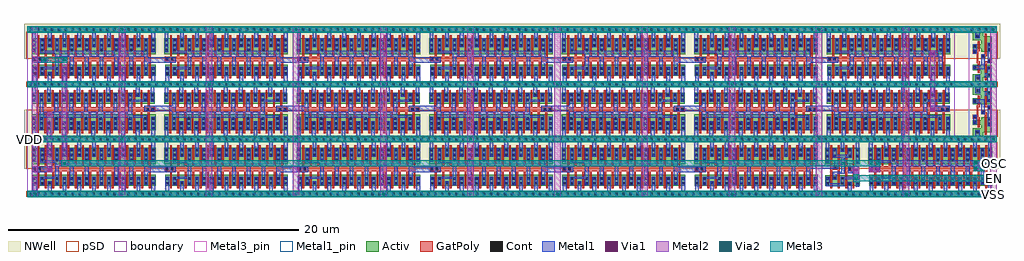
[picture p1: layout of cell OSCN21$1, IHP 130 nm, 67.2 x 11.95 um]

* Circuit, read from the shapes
.subckt OSCN21$1 EN OSC VDD VSS
XM1 sg13cmos5l_inv_16_4/A sg13cmos5l_inv_16_3/A VSS VSS sg13_lv_nmos w=0.74u l=0.13u m=16
XM2 sg13cmos5l_inv_16_5/A sg13cmos5l_inv_16_4/A VSS VSS sg13_lv_nmos w=0.74u l=0.13u m=16
XM3 sg13cmos5l_inv_16_18/A sg13cmos5l_inv_16_14/A VSS VSS sg13_lv_nmos w=0.74u l=0.13u m=16
XM4 sg13cmos5l_inv_16_3/A sg13cmos5l_inv_16_2/A VSS VSS sg13_lv_nmos w=0.74u l=0.13u m=16
XM5 sg13cmos5l_inv_16_7/A sg13cmos5l_inv_16_5/A VSS VSS sg13_lv_nmos w=0.74u l=0.13u m=16
XM6 sg13cmos5l_inv_16_19/A sg13cmos5l_inv_16_18/A VSS VSS sg13_lv_nmos w=0.74u l=0.13u m=16
XM7 sg13cmos5l_inv_16_2/A sg13cmos5l_inv_16_6/A VSS VSS sg13_lv_nmos w=0.74u l=0.13u m=16
XM8 sg13cmos5l_inv_16_9/A sg13cmos5l_inv_16_7/A VSS VSS sg13_lv_nmos w=0.74u l=0.13u m=16
XM9 sg13cmos5l_inv_16_20/A sg13cmos5l_inv_16_19/A VSS VSS sg13_lv_nmos w=0.74u l=0.13u m=16
XM10 sg13cmos5l_inv_16_6/A sg13cmos5l_inv_16_8/A VSS VSS sg13_lv_nmos w=0.74u l=0.13u m=16
XM11 sg13cmos5l_inv_16_11/A sg13cmos5l_inv_16_9/A VSS VSS sg13_lv_nmos w=0.74u l=0.13u m=16
XM12 sg13cmos5l_inv_16_21/A sg13cmos5l_inv_16_20/A VSS VSS sg13_lv_nmos w=0.74u l=0.13u m=16
XM13 sg13cmos5l_inv_16_8/A sg13cmos5l_inv_16_10/A VSS VSS sg13_lv_nmos w=0.74u l=0.13u m=16
XM14 sg13cmos5l_inv_16_13/A sg13cmos5l_inv_16_11/A VSS VSS sg13_lv_nmos w=0.74u l=0.13u m=16
XM15 sg13cmos5l_inv_16_22/A sg13cmos5l_inv_16_21/A VSS VSS sg13_lv_nmos w=0.74u l=0.13u m=16
XM16 sg13cmos5l_inv_16_10/A sg13cmos5l_inv_16_12/A VSS VSS sg13_lv_nmos w=0.74u l=0.13u m=16
XM17 sg13cmos5l_nand2_2_15/A sg13cmos5l_inv_16_13/A VSS VSS sg13_lv_nmos w=0.74u l=0.13u m=16
XM18 sg13cmos5l_inv_16_23/A sg13cmos5l_inv_16_22/A VSS VSS sg13_lv_nmos w=0.74u l=0.13u m=16
XM19 sg13cmos5l_inv_16_14/A sg13cmos5l_nand2_2_15/A n1 VSS sg13_lv_nmos w=0.72u l=0.13u m=2
XM20 sg13cmos5l_inv_16_12/A sg13cmos5l_inv_16_16/A VSS VSS sg13_lv_nmos w=0.74u l=0.13u m=16
XM21 sg13cmos5l_inv_16_16/A sg13cmos5l_inv_16_23/A VSS VSS sg13_lv_nmos w=0.74u l=0.13u m=16
XM22 VSS EN n1 VSS sg13_lv_nmos w=0.72u l=0.13u m=2
XM23 OSC sg13cmos5l_inv_16_14/A VSS VSS sg13_lv_nmos w=0.74u l=0.13u m=16
XM24 VSS n2 n3 VSS sg13_lv_nmos w=0.385u l=0.13u
XM25 VSS n4 n5 VSS sg13_lv_nmos w=0.385u l=0.13u
XM26 VSS n6 VSS VSS sg13_lv_nmos w=0.88u l=0.13u
XM27 VSS n7 VSS VSS sg13_lv_nmos w=0.88u l=0.13u
XM28 sg13cmos5l_inv_16_4/A sg13cmos5l_inv_16_3/A VDD VDD sg13_lv_pmos w=1.12u l=0.13u m=16
XM29 sg13cmos5l_inv_16_5/A sg13cmos5l_inv_16_4/A VDD VDD sg13_lv_pmos w=1.12u l=0.13u m=16
XM30 sg13cmos5l_inv_16_18/A sg13cmos5l_inv_16_14/A VDD VDD sg13_lv_pmos w=1.12u l=0.13u m=16
XM31 sg13cmos5l_inv_16_3/A sg13cmos5l_inv_16_2/A VDD VDD sg13_lv_pmos w=1.12u l=0.13u m=16
XM32 sg13cmos5l_inv_16_7/A sg13cmos5l_inv_16_5/A VDD VDD sg13_lv_pmos w=1.12u l=0.13u m=16
XM33 sg13cmos5l_inv_16_19/A sg13cmos5l_inv_16_18/A VDD VDD sg13_lv_pmos w=1.12u l=0.13u m=16
XM34 sg13cmos5l_inv_16_2/A sg13cmos5l_inv_16_6/A VDD VDD sg13_lv_pmos w=1.12u l=0.13u m=16
XM35 sg13cmos5l_inv_16_9/A sg13cmos5l_inv_16_7/A VDD VDD sg13_lv_pmos w=1.12u l=0.13u m=16
XM36 sg13cmos5l_inv_16_20/A sg13cmos5l_inv_16_19/A VDD VDD sg13_lv_pmos w=1.12u l=0.13u m=16
XM37 sg13cmos5l_inv_16_6/A sg13cmos5l_inv_16_8/A VDD VDD sg13_lv_pmos w=1.12u l=0.13u m=16
XM38 sg13cmos5l_inv_16_11/A sg13cmos5l_inv_16_9/A VDD VDD sg13_lv_pmos w=1.12u l=0.13u m=16
XM39 sg13cmos5l_inv_16_21/A sg13cmos5l_inv_16_20/A VDD VDD sg13_lv_pmos w=1.12u l=0.13u m=16
XM40 sg13cmos5l_inv_16_8/A sg13cmos5l_inv_16_10/A VDD VDD sg13_lv_pmos w=1.12u l=0.13u m=16
XM41 sg13cmos5l_inv_16_13/A sg13cmos5l_inv_16_11/A VDD VDD sg13_lv_pmos w=1.12u l=0.13u m=16
XM42 sg13cmos5l_inv_16_22/A sg13cmos5l_inv_16_21/A VDD VDD sg13_lv_pmos w=1.12u l=0.13u m=16
XM43 sg13cmos5l_inv_16_10/A sg13cmos5l_inv_16_12/A VDD VDD sg13_lv_pmos w=1.12u l=0.13u m=16
XM44 sg13cmos5l_nand2_2_15/A sg13cmos5l_inv_16_13/A VDD VDD sg13_lv_pmos w=1.12u l=0.13u m=16
XM45 sg13cmos5l_inv_16_23/A sg13cmos5l_inv_16_22/A VDD VDD sg13_lv_pmos w=1.12u l=0.13u m=16
XM46 sg13cmos5l_inv_16_14/A sg13cmos5l_nand2_2_15/A VDD VDD sg13_lv_pmos w=1.12u l=0.13u m=2
XM47 sg13cmos5l_inv_16_12/A sg13cmos5l_inv_16_16/A VDD VDD sg13_lv_pmos w=1.12u l=0.13u m=16
XM48 sg13cmos5l_inv_16_16/A sg13cmos5l_inv_16_23/A VDD VDD sg13_lv_pmos w=1.12u l=0.13u m=16
XM49 sg13cmos5l_inv_16_14/A EN VDD VDD sg13_lv_pmos w=1.12u l=0.13u m=2
XM50 OSC sg13cmos5l_inv_16_14/A VDD VDD sg13_lv_pmos w=1.12u l=0.13u m=16
XM51 VDD n2 n2 VDD sg13_lv_pmos w=0.3u l=0.13u
XM52 VDD n4 n4 VDD sg13_lv_pmos w=0.3u l=0.13u
XM53 n6 n3 VDD VDD sg13_lv_pmos w=1.045u l=0.13u
XM54 n7 n5 VDD VDD sg13_lv_pmos w=1.045u l=0.13u
.ends

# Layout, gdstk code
from math import pi, radians
import gdstk
lib = gdstk.Library(unit=1e-6, precision=1e-09)
def R(c, l, rs):  # rectangles x0, y0, x1, y1
    for r in rs: c.add(gdstk.rectangle(r[:2], r[2:], *l))
def A(c, l, x, y, w, h, nx, ny, dx, dy):  # array of equal rectangles
    R(c, l, [(x+i*dx, y+j*dy, x+i*dx+w, y+j*dy+h) for i in range(nx) for j in range(ny)])
def P(c, l, *ps):  # polygons
    for p in ps: c.add(gdstk.Polygon(p, *l))
Activ = (1, 0)
GatPoly = (5, 0)
Cont = (6, 0)
Metal1 = (8, 0)
Metal1_pin = (8, 2)
Metal2 = (10, 0)
pSD = (14, 0)
Via1 = (19, 0)
Via2 = (29, 0)
Metal3 = (30, 0)
Metal3_pin = (30, 2)
NWell = (31, 0)
boundary = (189, 4)

sg13cmos5l_tielo_2 = lib.new_cell('sg13cmos5l_tielo$2')
P(sg13cmos5l_tielo_2, Activ, [(0,-0.15),(0,0.15),(0.295,0.15),(0.295,0.705),(0.835,0.705),(0.835,0.975),(0.295,0.975),(0.295,1.36),(1.585,1.36),(1.585,0.48),(1.015,0.48),(1.015,0.15),(1.92,0.15),(1.92,-0.15)],
  [(0.885,2.255),(0.885,2.47),(0.295,2.47),(0.295,2.77),(0.855,2.77),(0.855,3.04),(0.295,3.04),(0.295,3.63),(0,3.63),(0,3.93),(1.92,3.93),(1.92,3.63),(1.015,3.63),(1.015,3.3),(1.585,3.3),(1.585,2.255)])
P(sg13cmos5l_tielo_2, GatPoly, [(0.635,0.785),(0.635,1.44),(0.545,1.44),(0.545,2.09),(0.295,2.09),(0.295,2.39),(0.635,2.39),(0.635,2.96),(0.765,2.96),(0.765,2.26),(0.675,2.26),(0.675,1.57),(0.765,1.57),(0.765,0.785)],
  [(0.855,1.78),(0.855,2.08),(1.115,2.08),(1.115,3.49),(1.245,3.49),(1.245,1.935),(1.155,1.935),(1.155,1.815),(1.15,1.815),(1.15,1.81),(1.145,1.81),(1.145,1.805),(1.14,1.805),(1.14,1.8),(1.135,1.8),(1.135,1.795),(1.13,1.795),(1.13,1.79),(1.125,1.79),(1.125,1.785),(1.12,1.785),(1.12,1.78)],
  [(1.115,0.29),(1.115,1.57),(1.3,1.57),(1.3,1.705),(1.305,1.705),(1.305,1.71),(1.31,1.71),(1.31,1.715),(1.315,1.715),(1.315,1.72),(1.32,1.72),(1.32,1.725),(1.325,1.725),(1.325,1.73),(1.33,1.73),(1.33,1.735),(1.335,1.735),(1.335,1.74),(1.6,1.74),(1.6,1.44),(1.245,1.44),(1.245,0.29)])
R(sg13cmos5l_tielo_2, Cont, [(0.16,-0.08,0.32,0.08), (0.16,-0.08,0.32,0.08), (0.64,-0.08,0.8,0.08), (0.64,-0.08,0.8,0.08), (1.12,-0.08,1.28,0.08), (1.12,-0.08,1.28,0.08), (1.6,-0.08,1.76,0.08), (1.6,-0.08,1.76,0.08), (0.57,0.355,0.73,0.515), (1.355,0.55,1.515,0.71), (1.355,1.03,1.515,1.19), (0.365,1.09,0.525,1.25), (1.37,1.51,1.53,1.67), (0.925,1.85,1.085,2.01), (0.365,2.16,0.525,2.32), (1.355,2.325,1.515,2.485), (0.365,2.54,0.525,2.7), (1.355,2.665,1.515,2.825), (0.54,3.22,0.7,3.38), (0.16,3.7,0.32,3.86), (0.16,3.7,0.32,3.86), (0.64,3.7,0.8,3.86), (0.64,3.7,0.8,3.86), (1.12,3.7,1.28,3.86), (1.12,3.7,1.28,3.86), (1.6,3.7,1.76,3.86), (1.6,3.7,1.76,3.86)])
R(sg13cmos5l_tielo_2, Metal1, [(1.305,1.46,1.58,2.875), (0.315,2.11,0.575,2.76)])
P(sg13cmos5l_tielo_2, Metal1, [(0.315,1.03),(0.315,1.29),(0.875,1.29),(0.875,2.06),(1.115,2.06),(1.115,1.03)],
  [(0,-0.22),(0,0.22),(0.465,0.22),(0.465,0.605),(0.815,0.605),(0.815,0.22),(1.92,0.22),(1.92,-0.22)],
  [(0.455,3.165),(0.455,3.56),(0,3.56),(0,4),(1.92,4),(1.92,3.56),(0.78,3.56),(0.78,3.165)],
  [(1.095,0.485),(1.095,0.775),(1.295,0.775),(1.295,1.23),(1.585,1.23),(1.585,0.485)])
R(sg13cmos5l_tielo_2, Metal1_pin, [(0,-0.22,1.92,0.22), (1.295,0.485,1.585,1.23), (0,3.56,1.92,4)])
R(sg13cmos5l_tielo_2, pSD, [(-0.07,-0.18,1.99,0.18), (-0.07,1.76,1.99,3.6)])
R(sg13cmos5l_tielo_2, NWell, [(-0.24,1.75,2.16,4.17)])
R(sg13cmos5l_tielo_2, boundary, [(0,0,1.92,3.78)])
sg13cmos5l_tielo_2.add(gdstk.Label('VSS', (0.94,0), layer=8, texttype=25))
sg13cmos5l_tielo_2.add(gdstk.Label('VDD', (0.985,3.785), layer=8, texttype=25))
sg13cmos5l_tielo_2.add(gdstk.Label('L_LO', (1.435,1.02), layer=8, texttype=25))

sg13cmos5l_inv_16 = lib.new_cell('sg13cmos5l_inv_16')
R(sg13cmos5l_inv_16, Activ, [(0,-0.15,9.12,0.15), (0.305,0.59,8.765,1.33), (0.305,2.06,8.815,3.18), (0,3.63,9.12,3.93)])
R(sg13cmos5l_inv_16, GatPoly, [(8.425,1.57,8.785,1.9)])
P(sg13cmos5l_inv_16, GatPoly, [(0.645,0.41),(0.645,3.36),(0.775,3.36),(0.775,1.9),(1.155,1.9),(1.155,3.36),(1.285,3.36),(1.285,1.9),(1.665,1.9),(1.665,3.36),(1.795,3.36),(1.795,1.9),(2.175,1.9),(2.175,3.36),(2.305,3.36),(2.305,1.9),(2.685,1.9),(2.685,3.36),(2.815,3.36),(2.815,1.9),(3.195,1.9),(3.195,3.36),(3.325,3.36),(3.325,1.9),(3.705,1.9),(3.705,3.36),(3.835,3.36),(3.835,1.9),(4.215,1.9),(4.215,3.36),(4.345,3.36),(4.345,1.9),(4.725,1.9),(4.725,3.36),(4.855,3.36),(4.855,1.9),(5.235,1.9),(5.235,3.36),(5.365,3.36),(5.365,1.9),(5.745,1.9),(5.745,3.36),(5.875,3.36),(5.875,1.9),(6.255,1.9),(6.255,3.36),(6.385,3.36),(6.385,1.9),(6.765,1.9),(6.765,3.36),(6.895,3.36),(6.895,1.9),(7.275,1.9),(7.275,3.36),(7.405,3.36),(7.405,1.9),(7.785,1.9),(7.785,3.36),(7.915,3.36),(7.915,1.9),(8.295,1.9),(8.295,3.36),(8.425,3.36),(8.425,0.41),(8.295,0.41),(8.295,1.57),(7.915,1.57),(7.915,0.41),(7.785,0.41),(7.785,1.57),(7.405,1.57),(7.405,0.41),(7.275,0.41),(7.275,1.57),(6.895,1.57),(6.895,0.41),(6.765,0.41),(6.765,1.57),(6.385,1.57),(6.385,0.41),(6.255,0.41),(6.255,1.57),(5.875,1.57),(5.875,0.41),(5.745,0.41),(5.745,1.57),(5.365,1.57),(5.365,0.41),(5.235,0.41),(5.235,1.57),(4.855,1.57),(4.855,0.41),(4.725,0.41),(4.725,1.57),(4.345,1.57),(4.345,0.41),(4.215,0.41),(4.215,1.57),(3.835,1.57),(3.835,0.41),(3.705,0.41),(3.705,1.57),(3.325,1.57),(3.325,0.41),(3.195,0.41),(3.195,1.57),(2.815,1.57),(2.815,0.41),(2.685,0.41),(2.685,1.57),(2.305,1.57),(2.305,0.41),(2.175,0.41),(2.175,1.57),(1.795,1.57),(1.795,0.41),(1.665,0.41),(1.665,1.57),(1.285,1.57),(1.285,0.41),(1.155,0.41),(1.155,1.57),(0.775,1.57),(0.775,0.41)])
A(sg13cmos5l_inv_16, Cont, 0.375, 0.66, 0.16, 0.16, 17, 1, 0.51, 0)
A(sg13cmos5l_inv_16, Cont, 0.375, 1, 0.16, 0.16, 14, 1, 0.51, 0)
A(sg13cmos5l_inv_16, Cont, 0.885, 2.27, 0.16, 0.16, 8, 1, 1.02, 0)
A(sg13cmos5l_inv_16, Cont, 8.585, 2.27, 0.16, 0.16, 1, 3, 0, 0.34)
A(sg13cmos5l_inv_16, Cont, 0.375, 2.61, 0.16, 0.16, 16, 2, 0.51, 0.34)
R(sg13cmos5l_inv_16, Cont, [(0.16,-0.08,0.32,0.08), (0.16,-0.08,0.32,0.08), (0.64,-0.08,0.8,0.08), (0.64,-0.08,0.8,0.08), (1.12,-0.08,1.28,0.08), (1.12,-0.08,1.28,0.08), (1.6,-0.08,1.76,0.08), (1.6,-0.08,1.76,0.08), (2.08,-0.08,2.24,0.08), (2.08,-0.08,2.24,0.08), (2.56,-0.08,2.72,0.08), (2.56,-0.08,2.72,0.08), (3.04,-0.08,3.2,0.08), (3.04,-0.08,3.2,0.08), (3.52,-0.08,3.68,0.08), (3.52,-0.08,3.68,0.08), (4,-0.08,4.16,0.08), (4,-0.08,4.16,0.08), (4.48,-0.08,4.64,0.08), (4.48,-0.08,4.64,0.08), (4.96,-0.08,5.12,0.08), (4.96,-0.08,5.12,0.08), (5.44,-0.08,5.6,0.08), (5.44,-0.08,5.6,0.08), (5.92,-0.08,6.08,0.08), (5.92,-0.08,6.08,0.08), (6.4,-0.08,6.56,0.08), (6.4,-0.08,6.56,0.08), (6.88,-0.08,7.04,0.08), (6.88,-0.08,7.04,0.08), (7.36,-0.08,7.52,0.08), (7.36,-0.08,7.52,0.08), (7.84,-0.08,8,0.08), (7.84,-0.08,8,0.08), (8.32,-0.08,8.48,0.08), (8.32,-0.08,8.48,0.08), (8.8,-0.08,8.96,0.08), (8.8,-0.08,8.96,0.08), (8.025,1,8.185,1.16), (8.535,1,8.695,1.16), (8.195,1.65,8.355,1.81), (8.535,1.65,8.695,1.81), (0.375,2.27,0.535,2.43), (0.16,3.7,0.32,3.86), (0.16,3.7,0.32,3.86), (0.64,3.7,0.8,3.86), (0.64,3.7,0.8,3.86), (1.12,3.7,1.28,3.86), (1.12,3.7,1.28,3.86), (1.6,3.7,1.76,3.86), (1.6,3.7,1.76,3.86), (2.08,3.7,2.24,3.86), (2.08,3.7,2.24,3.86), (2.56,3.7,2.72,3.86), (2.56,3.7,2.72,3.86), (3.04,3.7,3.2,3.86), (3.04,3.7,3.2,3.86), (3.52,3.7,3.68,3.86), (3.52,3.7,3.68,3.86), (4,3.7,4.16,3.86), (4,3.7,4.16,3.86), (4.48,3.7,4.64,3.86), (4.48,3.7,4.64,3.86), (4.96,3.7,5.12,3.86), (4.96,3.7,5.12,3.86), (5.44,3.7,5.6,3.86), (5.44,3.7,5.6,3.86), (5.92,3.7,6.08,3.86), (5.92,3.7,6.08,3.86), (6.4,3.7,6.56,3.86), (6.4,3.7,6.56,3.86), (6.88,3.7,7.04,3.86), (6.88,3.7,7.04,3.86), (7.36,3.7,7.52,3.86), (7.36,3.7,7.52,3.86), (7.84,3.7,8,3.86), (7.84,3.7,8,3.86), (8.32,3.7,8.48,3.86), (8.32,3.7,8.48,3.86), (8.8,3.7,8.96,3.86), (8.8,3.7,8.96,3.86)])
R(sg13cmos5l_inv_16, Metal1, [(8.025,1.49,8.785,1.87)])
P(sg13cmos5l_inv_16, Metal1, [(2.875,0.625),(2.875,1.9),(2.115,1.9),(2.115,0.63),(1.855,0.63),(1.855,1.9),(1.095,1.9),(1.095,0.63),(0.835,0.63),(0.835,3.16),(1.095,3.16),(1.095,2.32),(1.855,2.32),(1.855,3.16),(2.115,3.16),(2.115,2.32),(2.875,2.32),(2.875,3.16),(3.135,3.16),(3.135,2.32),(3.895,2.32),(3.895,3.16),(4.155,3.16),(4.155,2.32),(4.915,2.32),(4.915,3.16),(5.175,3.16),(5.175,2.32),(5.935,2.32),(5.935,3.16),(6.195,3.16),(6.195,2.32),(6.955,2.32),(6.955,3.16),(7.215,3.16),(7.215,2.32),(7.975,2.32),(7.975,3.16),(8.235,3.16),(8.235,2.145),(7.215,2.145),(7.215,1.21),(8.235,1.21),(8.235,0.625),(7.975,0.625),(7.975,1.05),(7.215,1.05),(7.215,0.625),(6.955,0.625),(6.955,1.9),(6.195,1.9),(6.195,0.625),(5.935,0.625),(5.935,1.9),(5.175,1.9),(5.175,0.625),(4.915,0.625),(4.915,1.9),(4.155,1.9),(4.155,0.625),(3.895,0.625),(3.895,1.9),(3.135,1.9),(3.135,0.625)],
  [(0.325,2.22),(0.325,3.56),(0,3.56),(0,4),(9.12,4),(9.12,3.56),(8.795,3.56),(8.795,2.22),(8.535,2.22),(8.535,3.555),(7.725,3.555),(7.725,2.56),(7.465,2.56),(7.465,3.56),(6.705,3.56),(6.705,2.56),(6.445,2.56),(6.445,3.56),(5.685,3.56),(5.685,2.56),(5.425,2.56),(5.425,3.56),(4.665,3.56),(4.665,2.56),(4.405,2.56),(4.405,3.56),(3.645,3.56),(3.645,2.56),(3.385,2.56),(3.385,3.56),(2.625,3.56),(2.625,2.56),(2.365,2.56),(2.365,3.56),(1.605,3.56),(1.605,2.56),(1.345,2.56),(1.345,3.56),(0.585,3.56),(0.585,2.22)],
  [(0,-0.22),(0,0.22),(0.325,0.22),(0.325,1.21),(0.585,1.21),(0.585,0.22),(1.345,0.22),(1.345,1.21),(1.605,1.21),(1.605,0.22),(2.365,0.22),(2.365,1.21),(2.625,1.21),(2.625,0.22),(3.385,0.22),(3.385,1.21),(3.645,1.21),(3.645,0.22),(4.405,0.22),(4.405,1.21),(4.665,1.21),(4.665,0.22),(5.425,0.22),(5.425,1.21),(5.685,1.21),(5.685,0.22),(6.445,0.22),(6.445,1.21),(6.705,1.21),(6.705,0.22),(7.465,0.22),(7.465,0.87),(7.725,0.87),(7.725,0.22),(8.485,0.22),(8.485,1.21),(8.745,1.21),(8.745,0.22),(9.12,0.22),(9.12,-0.22)])
R(sg13cmos5l_inv_16, Metal1_pin, [(0,-0.22,9.12,0.22), (8.025,1.49,8.745,1.87), (1.095,1.9,3.135,2.32), (0,3.56,9.12,4)])
R(sg13cmos5l_inv_16, pSD, [(-0.065,-0.18,9.19,0.18), (-0.065,1.76,9.19,3.6)])
R(sg13cmos5l_inv_16, NWell, [(-0.24,1.75,9.36,4.17)])
R(sg13cmos5l_inv_16, boundary, [(0,0,9.12,3.78)])
sg13cmos5l_inv_16.add(gdstk.Label('Y', (2.16,2.06), layer=8, texttype=25))
sg13cmos5l_inv_16.add(gdstk.Label('A', (8.16,1.68), layer=8, texttype=25))
sg13cmos5l_inv_16.add(gdstk.Label('VDD', (4.28,3.795), layer=8, texttype=25))
sg13cmos5l_inv_16.add(gdstk.Label('VSS', (3.86,-0.025), layer=8, texttype=25))

sg13cmos5l_nand2_2 = lib.new_cell('sg13cmos5l_nand2_2')
R(sg13cmos5l_nand2_2, Activ, [(0,-0.15,2.88,0.15), (0.285,0.575,2.67,1.295), (0.3,2.06,2.68,3.18), (0,3.63,2.88,3.93)])
P(sg13cmos5l_nand2_2, GatPoly, [(1.69,0.395),(1.69,3.36),(1.82,3.36),(1.82,1.99),(2.2,1.99),(2.2,3.36),(2.33,3.36),(2.33,0.395),(2.2,0.395),(2.2,1.69),(1.82,1.69),(1.82,0.395)],
  [(0.66,0.395),(0.66,3.36),(0.79,3.36),(0.79,1.875),(1.17,1.875),(1.17,3.36),(1.3,3.36),(1.3,0.395),(1.17,0.395),(1.17,1.565),(0.79,1.565),(0.79,0.395)])
A(sg13cmos5l_nand2_2, Cont, 1.6, -0.08, 0.16, 0.16, 3, 2, 0.48, 3.78)
A(sg13cmos5l_nand2_2, Cont, 0.37, 2.13, 0.16, 0.16, 1, 3, 0, 0.41)
R(sg13cmos5l_nand2_2, Cont, [(0.16,-0.08,0.32,0.08), (0.16,-0.08,0.32,0.08), (0.64,-0.08,0.8,0.08), (0.64,-0.08,0.8,0.08), (1.12,-0.08,1.28,0.08), (1.12,-0.08,1.28,0.08), (1.6,-0.08,1.76,0.08), (0.9,0.645,1.06,0.805), (0.38,0.65,0.54,0.81), (2.44,0.65,2.6,0.81), (1.41,0.66,1.57,0.82), (0.375,0.99,0.535,1.15), (2.44,0.99,2.6,1.15), (1.41,1.005,1.57,1.165), (1.93,1.05,2.09,1.21), (0.9,1.64,1.06,1.8), (1.93,1.76,2.09,1.92), (2.44,2.21,2.6,2.37), (0.9,2.55,1.06,2.71), (1.93,2.55,2.09,2.71), (2.44,2.55,2.6,2.71), (0.9,2.95,1.06,3.11), (1.41,2.95,1.57,3.11), (1.93,2.95,2.09,3.11), (2.44,2.95,2.6,3.11), (0.16,3.7,0.32,3.86), (0.16,3.7,0.32,3.86), (0.64,3.7,0.8,3.86), (0.64,3.7,0.8,3.86), (1.12,3.7,1.28,3.86), (1.12,3.7,1.28,3.86), (1.6,3.7,1.76,3.86)])
R(sg13cmos5l_nand2_2, Metal1, [(0.82,1.435,1.1,1.9)])
P(sg13cmos5l_nand2_2, Metal1, [(0,-0.22),(0,0.22),(0.85,0.22),(0.85,0.855),(1.11,0.855),(1.11,0.22),(2.88,0.22),(2.88,-0.22)],
  [(0.325,0.5),(0.325,1.2),(1.62,1.2),(1.62,0.76),(2.37,0.76),(2.37,1.2),(2.65,1.2),(2.65,0.53),(1.35,0.53),(1.35,1.035),(0.585,1.035),(0.585,0.5)],
  [(1.88,1),(1.88,1.39),(1.32,1.39),(1.32,2.5),(0.85,2.5),(0.85,3.16),(1.11,3.16),(1.11,2.72),(1.88,2.72),(1.88,3.16),(2.14,3.16),(2.14,2.5),(1.56,2.5),(1.56,1.55),(2.14,1.55),(2.14,1)],
  [(1.79,1.73),(1.79,2.32),(2.05,2.32),(2.05,1.98),(2.17,1.98),(2.17,1.73)],
  [(0.32,2.08),(0.32,3.56),(0,3.56),(0,4),(2.88,4),(2.88,3.56),(2.65,3.56),(2.65,2.16),(2.39,2.16),(2.39,3.56),(1.62,3.56),(1.62,2.9),(1.36,2.9),(1.36,3.56),(0.58,3.56),(0.58,2.08)])
R(sg13cmos5l_nand2_2, Metal1_pin, [(0,-0.22,2.88,0.22), (1.32,1.39,1.56,2.36), (0.82,1.435,1.1,1.9), (1.79,1.73,2.05,2.32), (0,3.56,2.88,4)])
R(sg13cmos5l_nand2_2, pSD, [(-0.07,-0.18,2.95,0.18), (-0.07,1.76,2.95,3.6)])
R(sg13cmos5l_nand2_2, NWell, [(-0.24,1.75,3.12,4.17)])
R(sg13cmos5l_nand2_2, boundary, [(0,0,2.88,3.78)])
sg13cmos5l_nand2_2.add(gdstk.Label('B', (0.98,1.655), layer=8, texttype=25))
sg13cmos5l_nand2_2.add(gdstk.Label('VSS', (1.445,-0.02), layer=8, texttype=25))
sg13cmos5l_nand2_2.add(gdstk.Label('A', (1.92,2.1), layer=8, texttype=25))
sg13cmos5l_nand2_2.add(gdstk.Label('VDD', (1.37,3.78), layer=8, texttype=25))
sg13cmos5l_nand2_2.add(gdstk.Label('Y', (1.44,2.1), layer=8, texttype=25))

oscn21_1 = lib.new_cell('OSCN21$1')
A(oscn21_1, Activ, 12.56, 0.07, 0.32, 0.3, 5, 1, 12, 0)
R(oscn21_1, Activ, [(64.08,0.07,65.04,0.37), (64.08,3.85,65.04,4.15)])
A(oscn21_1, Metal1, 0.595, -7.49, 0.305, 0.29, 6, 1, 12, 0)
A(oscn21_1, Metal1, 8.265, -5.85, 2.19, 0.38, 3, 1, 9.12, 0)
A(oscn21_1, Metal1, 6.595, -3.7, 0.305, 0.3, 6, 1, 12, 0)
A(oscn21_1, Metal1, 8.265, -1.65, 2.19, 0.38, 6, 2, 9.12, 3.36)
A(oscn21_1, Metal1, 0.6, 0.1, 0.3, 0.27, 6, 1, 12, 0)
A(oscn21_1, Metal1, 6.545, 3.85, 0.36, 0.3, 5, 1, 12, 0)
R(oscn21_1, Metal1, [(56.74,-5.91,57.52,-5.44), (0.575,-5.85,1.95,-5.47), (35.63,-5.85,37.815,-5.47), (44.745,-5.85,46.935,-5.47), (58.24,-5.81,58.88,-5.5), (65.38,-5.77,66.13,-5.02), (53.865,-5.61,56.05,-5.36), (56.3,-5.42,56.5,-5.04), (1.625,-2.05,1.875,-1.75), (62.4,-1.65,63.75,-1.27), (66.335,-1.01,66.625,1.45), (64.08,0,65.04,0.44), (1.155,1.71,1.65,2.09), (62.45,2.15,62.7,2.5), (64.08,3.78,65.04,4.22)])
R(oscn21_1, Metal1_pin, [(64.08,0,65.04,0.44), (64.08,3.78,65.04,4.22)])
A(oscn21_1, Metal2, 6.52, -7.56, 0.44, 11.785, 11, 1, 6, 0)
R(oscn21_1, Metal2, [(0.52,-7.56,0.96,4.22), (57.1,-6.53,57.52,-5.44), (1.575,-5.85,1.95,-1.68), (58.18,-5.85,58.94,-5.02), (65.38,-5.77,66.13,-5.02), (56.25,-5.47,56.55,-4.98), (2.595,-5.44,2.98,-5.02), (2.605,-5.02,2.975,1.59), (62.4,-1.65,62.75,2.54), (2.605,1.59,2.97,2.095), (1.205,1.71,1.645,2.09)])
A(oscn21_1, pSD, 9.235, -5.46, 0.25, 1.48, 5, 1, 9.12, 0)
A(oscn21_1, pSD, 9.235, -3.14, 0.25, 1.48, 6, 2, 9.12, 5.24)
A(oscn21_1, pSD, 12.53, 0.04, 0.38, 0.36, 5, 1, 12, 0)
R(oscn21_1, pSD, [(54.835,-5.46,54.98,-3.98), (57.72,-5.46,57.965,-3.98), (64.15,-3.38,64.97,-1.54), (64.145,0.04,64.97,0.4), (64.145,1.98,64.97,3.82)])
A(oscn21_1, Via1, 0.65, -7.44, 0.19, 0.19, 6, 1, 12, 0)
A(oscn21_1, Via1, 6.65, -3.645, 0.19, 0.19, 6, 1, 12, 0)
A(oscn21_1, Via1, 0.655, 0.14, 0.19, 0.19, 6, 1, 12, 0)
A(oscn21_1, Via1, 6.63, 3.905, 0.19, 0.19, 6, 1, 12, 0)
R(oscn21_1, Via1, [(57.215,-5.775,57.405,-5.585), (58.26,-5.75,58.45,-5.56), (58.67,-5.75,58.86,-5.56), (1.66,-5.745,1.85,-5.555), (65.455,-5.695,65.645,-5.505), (65.865,-5.695,66.055,-5.505), (56.305,-5.325,56.495,-5.135), (65.455,-5.285,65.645,-5.095), (65.865,-5.285,66.055,-5.095), (1.655,-1.995,1.845,-1.805), (62.48,-1.545,62.67,-1.355), (1.325,1.805,1.515,1.995), (62.48,2.23,62.67,2.42)])
A(oscn21_1, Via2, 0.65, -7.44, 0.19, 0.19, 6, 1, 12, 0)
A(oscn21_1, Via2, 6.65, -3.645, 0.19, 0.19, 6, 1, 12, 0)
A(oscn21_1, Via2, 0.655, 0.14, 0.19, 0.19, 6, 1, 12, 0)
A(oscn21_1, Via2, 6.63, 3.9, 0.19, 0.19, 6, 1, 12, 0)
R(oscn21_1, Via2, [(57.215,-6.35,57.405,-6.16), (65.455,-5.695,65.645,-5.505), (65.865,-5.695,66.055,-5.505), (2.7,-5.325,2.89,-5.135), (56.305,-5.325,56.495,-5.135), (58.26,-5.32,58.45,-5.13), (58.67,-5.32,58.86,-5.13), (65.455,-5.285,65.645,-5.095), (65.865,-5.285,66.055,-5.095), (1.33,1.805,1.52,1.995), (2.68,1.805,2.87,1.995)])
A(oscn21_1, Metal3, 0.24, -7.56, 66.72, 0.44, 1, 4, 0, 3.78)
R(oscn21_1, Metal3, [(57.1,-6.53,57.52,-6.46), (57.1,-6.46,67.2,-6.05), (57.1,-6.05,57.52,-5.98), (65.38,-5.77,66.13,-5.44), (56.25,-5.47,56.55,-5.44), (2.575,-5.44,58.94,-5.02), (65.38,-5.44,67.2,-5.02), (56.25,-5.02,56.55,-4.98), (1.2,1.715,2.97,2.095)])
R(oscn21_1, Metal3_pin, [(66.375,-7.56,66.96,-7.12), (66.51,-6.42,67.14,-6.09), (66.53,-5.39,67.14,-5.06), (0.24,-3.78,0.66,-3.34)])
R(oscn21_1, NWell, [(64.32,-3.17,64.8,-1.53), (64.32,1.97,64.8,4.39)])
oscn21_1.add(gdstk.Reference(sg13cmos5l_tielo_2, (65.04,0.22)))
oscn21_1.add(gdstk.Reference(sg13cmos5l_tielo_2, (65.04,0.22), x_reflection=True))
oscn21_1.add(gdstk.Reference(sg13cmos5l_inv_16, (9.36,0.22), x_reflection=True))
oscn21_1.add(gdstk.Reference(sg13cmos5l_inv_16, (0.24,0.22), x_reflection=True))
oscn21_1.add(gdstk.Reference(sg13cmos5l_inv_16, (9.36,-7.34), rotation=pi, x_reflection=True))
oscn21_1.add(gdstk.Reference(sg13cmos5l_inv_16, (18.48,-7.34), rotation=pi, x_reflection=True))
oscn21_1.add(gdstk.Reference(sg13cmos5l_inv_16, (18.48,0.22), x_reflection=True))
oscn21_1.add(gdstk.Reference(sg13cmos5l_inv_16, (27.6,-7.34), rotation=pi, x_reflection=True))
oscn21_1.add(gdstk.Reference(sg13cmos5l_inv_16, (27.6,0.22), x_reflection=True))
oscn21_1.add(gdstk.Reference(sg13cmos5l_inv_16, (36.72,-7.34), rotation=pi, x_reflection=True))
oscn21_1.add(gdstk.Reference(sg13cmos5l_inv_16, (36.72,0.22), x_reflection=True))
oscn21_1.add(gdstk.Reference(sg13cmos5l_inv_16, (45.84,-7.34), rotation=pi, x_reflection=True))
oscn21_1.add(gdstk.Reference(sg13cmos5l_inv_16, (45.84,0.22), x_reflection=True))
oscn21_1.add(gdstk.Reference(sg13cmos5l_inv_16, (54.96,-7.34), rotation=pi, x_reflection=True))
oscn21_1.add(gdstk.Reference(sg13cmos5l_inv_16, (66.96,-7.34), rotation=pi, x_reflection=True))
oscn21_1.add(gdstk.Reference(sg13cmos5l_nand2_2, (57.84,-7.34), rotation=pi, x_reflection=True))
oscn21_1.add(gdstk.Reference(sg13cmos5l_inv_16, (54.96,0.22), x_reflection=True))
oscn21_1.add(gdstk.Reference(sg13cmos5l_inv_16, (9.36,0.22), rotation=pi, x_reflection=True))
oscn21_1.add(gdstk.Reference(sg13cmos5l_inv_16, (18.48,0.22), rotation=pi, x_reflection=True))
oscn21_1.add(gdstk.Reference(sg13cmos5l_inv_16, (27.6,0.22), rotation=pi, x_reflection=True))
oscn21_1.add(gdstk.Reference(sg13cmos5l_inv_16, (36.72,0.22), rotation=pi, x_reflection=True))
oscn21_1.add(gdstk.Reference(sg13cmos5l_inv_16, (45.84,0.22), rotation=pi, x_reflection=True))
oscn21_1.add(gdstk.Reference(sg13cmos5l_inv_16, (54.96,0.22), rotation=pi, x_reflection=True))
oscn21_1.add(gdstk.Reference(sg13cmos5l_inv_16, (64.08,0.22), rotation=pi, x_reflection=True))
oscn21_1.add(gdstk.Label('VDD', (0.375,-3.55), layer=30, texttype=25))
oscn21_1.add(gdstk.Label('VSS', (66.775,-7.35), layer=30, texttype=25))
oscn21_1.add(gdstk.Label('OSC', (66.835,-5.225), layer=30, texttype=25))
oscn21_1.add(gdstk.Label('EN', (66.825,-6.255), layer=30, texttype=25))

lib.write_gds('OSCN21_1.gds')
